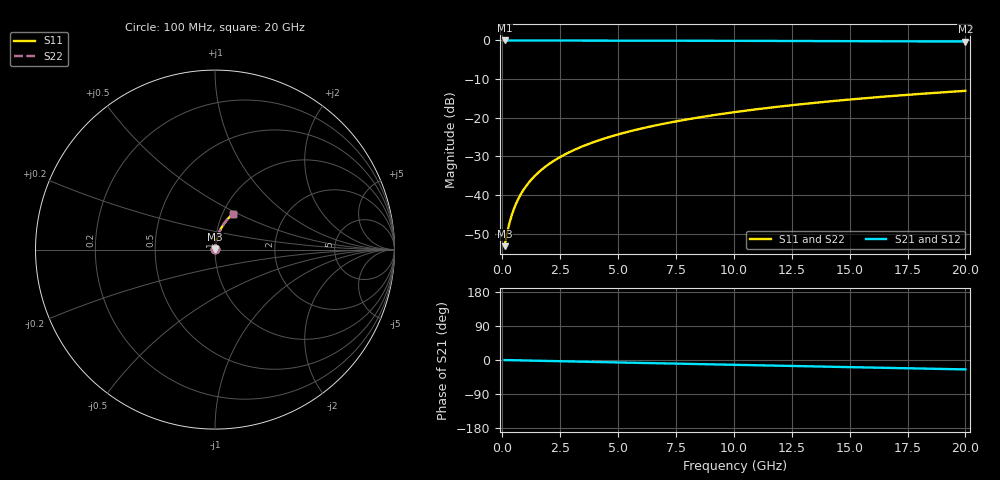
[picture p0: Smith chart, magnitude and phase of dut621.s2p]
! Touchstone file exported from HFSS 2026.1.0
!  File:  C:/ffzhzh/LocalFiles/Ansys_Project_Files/temp_train_BSMRDL_621_1783016425_55676.aedt
!  Generated:  02:21:45 AM Jul  3, 2026
!  Design:  BSMRDL
!  Project:  temp_train_BSMRDL_621_1783016425_55676
! Variables:
!  h_bsmrdl = 4.59um
!  h_ox = 20um
!  h_rdl = 5um
!  h_sub = 80um
!  h_tmrdl = 5um
!  h_tsv = 80um
!  h_via = 3um
!  l_bsmrdl = 358um
!  l_sub = 758um
!  l_tmrdl = 200um
!  m_sub = 200um
!  pitch = 37.55um
!  r_tsv = 6um
!  s_tmrdl = 10um
!  w_bsmrdl = 17.55um
!  w_sub = 500um
!  w_tmrdl = 12um
!  x_tsv_center1 = 206um
!  x_tsv_center2 = 581.55um
!  x_tsv_center3 = 793.55um
!  x_tsv_center4 = 1169.1um
!  x_tsv_center5 = 1381.1um
!  x_tsv_center6 = 1756.65um
# GHz S MA R 50.000000
! Terminal data exported
! Port[1] = BSM_RDL1_1_T1
! Port[2] = BSM_RDL1_1_T2
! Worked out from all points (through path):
!   200 points, 100 MHz to 20 GHz, reference 50 ohm
!   highest |S21| = -0.01 dB at 100 MHz (marker M1); lowest = -0.3 dB at 20 GHz (marker M2)
!   group delay of S21, straight-line fit = 3.44 ps
!   lowest |S11| = -53.2 dB at 100 MHz (marker M3), VSWR 1.00, Z = 50.2 + j0.136 ohm
!   |S11| at or under -10 dB: start of sweep to end of sweep
!   |S22| runs from -53.2 to -13.0 dB; largest |S21 - S12| = 4.2e-15
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0.1  0.002195 38.3  0.9983 -0.1  0.9983 -0.1  0.002195 38.3
! Gamma 0 0 0 0
! Port Impedance 50 0 50 0
0.2  0.003174 55.3  0.9982 -0.3  0.9982 -0.3  0.003167 55.3
0.3  0.004273 64.2  0.9981 -0.4  0.9981 -0.4  0.004265 64.3
0.4  0.005433 69.5  0.998 -0.5  0.998 -0.5  0.005428 69.6
0.5  0.006627 72.9  0.998 -0.7  0.998 -0.7  0.006625 73.0
0.6  0.007839 75.2  0.9979 -0.8  0.9979 -0.8  0.00784 75.2
0.8  0.01029 78.0  0.9978 -1.1  0.9978 -1.1  0.0103 78.0
1.1  0.01399 80.1  0.9977 -1.4  0.9977 -1.4  0.014 80.2
1.5  0.01893 81.4  0.9975 -2.0  0.9975 -2.0  0.01893 81.4
1.8  0.02261 81.7  0.9974 -2.3  0.9974 -2.3  0.02262 81.7
2.1  0.02628 81.9  0.9972 -2.7  0.9972 -2.7  0.02628 81.9
2.7  0.03356 81.8  0.9967 -3.5  0.9967 -3.5  0.03357 81.8
3.5  0.04319 81.3  0.996 -4.5  0.996 -4.5  0.04319 81.3
4.2  0.05152 80.7  0.9952 -5.4  0.9952 -5.4  0.05152 80.7
5  0.06095 79.9  0.9943 -6.4  0.9943 -6.4  0.06095 79.9
5.9  0.07146 79.0  0.9932 -7.6  0.9932 -7.6  0.07146 79.0
6.8  0.08185 78.0  0.992 -8.7  0.992 -8.7  0.08185 78.0
8.3  0.09894 76.4  0.9898 -10.6  0.9898 -10.6  0.09894 76.4
10.1  0.1191 74.3  0.987 -12.8  0.987 -12.8  0.1191 74.4
13.4  0.1551 70.6  0.9811 -16.9  0.9811 -16.9  0.1551 70.6
16.7  0.1899 66.9  0.9743 -20.9  0.9743 -20.9  0.1899 66.9
20  0.2231 63.1  0.9667 -24.8  0.9667 -24.8  0.2231 63.1
